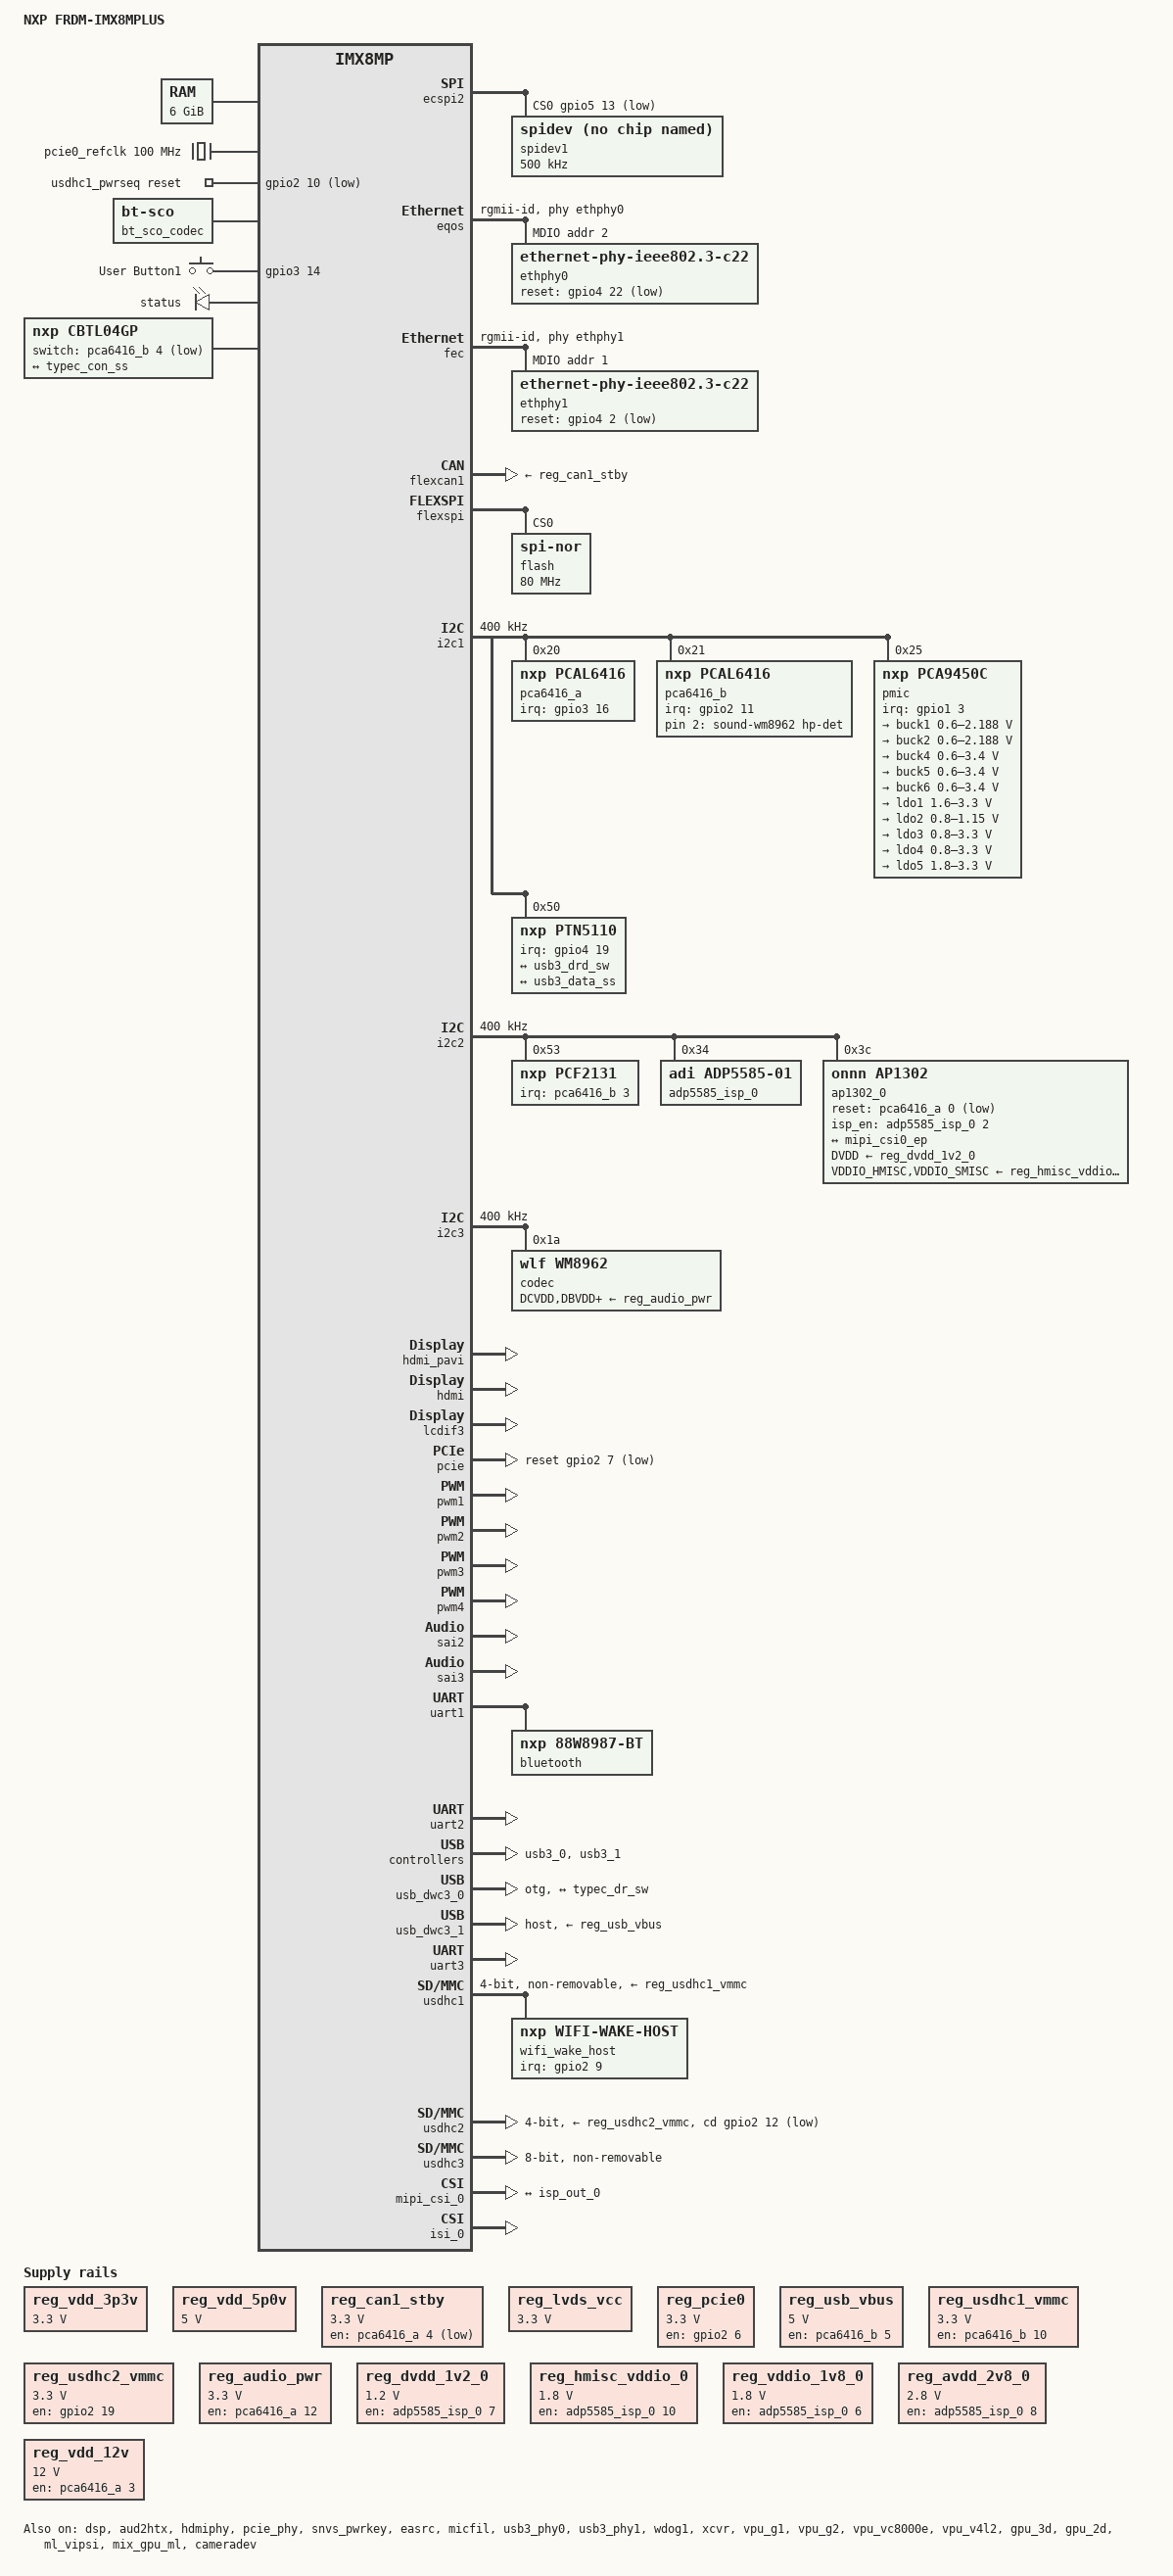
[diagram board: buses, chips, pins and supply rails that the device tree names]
// SPDX-License-Identifier: (GPL-2.0+ OR MIT)
/*
 * Copyright 2025 NXP
 */

/dts-v1/;

#include <dt-bindings/phy/phy-imx8-pcie.h>
#include <dt-bindings/usb/pd.h>
#include "imx8mp.dtsi"

/ {
	model = "NXP FRDM-IMX8MPLUS";
	compatible = "fsl,imx8mp-frdm", "fsl,imx8mp";

	chosen {
		stdout-path = &uart2;
	};

	memory@40000000 {
		device_type = "memory";
		reg = <0x0 0x40000000 0 0xc0000000>,
			  <0x1 0x00000000 0 0xc0000000>;
	};

	pcie0_refclk: pcie0-refclk {
		compatible = "fixed-clock";
		#clock-cells = <0>;
		clock-frequency = <100000000>;
	};

	reg_vdd_3p3v: regulator-vdd-3p3v {
		compatible = "regulator-fixed";
		regulator-name = "VDD_3P3V";
		regulator-min-microvolt = <3300000>;
		regulator-max-microvolt = <3300000>;
		regulator-always-on;
	};

	reg_vdd_5p0v: regulator-vdd-5p0v {
		compatible = "regulator-fixed";
		regulator-name = "VDD_5P0V";
		regulator-min-microvolt = <5000000>;
		regulator-max-microvolt = <5000000>;
		regulator-always-on;
	};

	reg_can1_stby: regulator-can1-stby {
		compatible = "regulator-fixed";
		regulator-name = "can1-stby";
		pinctrl-names = "default";
		regulator-min-microvolt = <3300000>;
		regulator-max-microvolt = <3300000>;
		gpio = <&pca6416_a 4 GPIO_ACTIVE_LOW>;
		enable-active-low;
	};

	reg_lvds_vcc: regulator-lvds-vcc {
		compatible = "regulator-fixed";
		regulator-name = "lvds-vcc";
		regulator-min-microvolt = <3300000>;
		regulator-max-microvolt = <3300000>;
		regulator-always-on;
	};

	reg_pcie0: regulator-pcie {
		compatible = "regulator-fixed";
		pinctrl-names = "default";
		pinctrl-0 = <&pinctrl_pcie0_reg>;
		regulator-name = "MPCIE_3V3";
		regulator-min-microvolt = <3300000>;
		regulator-max-microvolt = <3300000>;
		gpio = <&gpio2 6 GPIO_ACTIVE_HIGH>;
		enable-active-high;
		regulator-always-on;
	};

	reg_usb_vbus: regulator-vbus {
		compatible = "regulator-fixed";
		pinctrl-names = "default";
		regulator-name = "USB_VBUS";
		regulator-min-microvolt = <5000000>;
		regulator-max-microvolt = <5000000>;
		gpio = <&pca6416_b 5 GPIO_ACTIVE_HIGH>;
		enable-active-high;
		regulator-always-on;
	};

	usdhc1_pwrseq: usdhc1_pwrseq {
		compatible = "mmc-pwrseq-simple";
		reset-gpios = <&gpio2 10 GPIO_ACTIVE_LOW>;
	};

	reg_usdhc1_vmmc: regulator-usdhc1 {
		compatible = "regulator-fixed";
		regulator-name = "WLAN_EN";
		regulator-min-microvolt = <3300000>;
		regulator-max-microvolt = <3300000>;
		gpio = <&pca6416_b 10 GPIO_ACTIVE_HIGH>;
		/*
		 * IW612 wifi chip needs more delay than other wifi chips to complete
		 * the host interface initialization after power up, otherwise the
		 * internal state of IW612 may be unstable, resulting in the failure of
		 * the SDIO3.0 switch voltage.
		 */
		startup-delay-us = <20000>;
		enable-active-high;
	};

	reg_usdhc2_vmmc: regulator-usdhc2 {
		compatible = "regulator-fixed";
		pinctrl-names = "default";
		pinctrl-0 = <&pinctrl_reg_usdhc2_vmmc>;
		regulator-name = "VSD_3V3";
		regulator-min-microvolt = <3300000>;
		regulator-max-microvolt = <3300000>;
		gpio = <&gpio2 19 GPIO_ACTIVE_HIGH>;
		enable-active-high;
	};

	reg_audio_pwr: regulator-audio-pwr {
		compatible = "regulator-fixed";
		regulator-name = "audio-pwr";
		regulator-min-microvolt = <3300000>;
		regulator-max-microvolt = <3300000>;
		gpio = <&pca6416_a 12 GPIO_ACTIVE_HIGH>;
		enable-active-high;
		regulator-always-on;
	};

	reg_dvdd_1v2_0: regulator-dvdd_0 {
		compatible = "regulator-fixed";
		regulator-name = "DVDD_1V2";
		gpio = <&adp5585_isp_0 7 GPIO_ACTIVE_HIGH>;
		regulator-min-microvolt = <1200000>;
		regulator-max-microvolt = <1200000>;
		enable-active-high;
	};

	reg_hmisc_vddio_0: regulator-hmisc-vddio_0 {
		compatible = "regulator-fixed";
		regulator-name = "HMISC_VDDIO_1V8";
		gpio = <&adp5585_isp_0 10 GPIO_ACTIVE_HIGH>;
		regulator-min-microvolt = <1800000>;
		regulator-max-microvolt = <1800000>;
		enable-active-high;
	};

	reg_vddio_1v8_0: regulator-vddo_0 {
		compatible = "regulator-fixed";
		regulator-name = "VDDIO_1V8";
		gpio = <&adp5585_isp_0 6 GPIO_ACTIVE_HIGH>;
		regulator-min-microvolt = <1800000>;
		regulator-max-microvolt = <1800000>;
		startup-delay-us = <4000>;
		enable-active-high;
	};

	reg_avdd_2v8_0: regulator-avdd_0 {
		compatible = "regulator-fixed";
		regulator-name = "AVDD_2V8";
		gpio = <&adp5585_isp_0 8 GPIO_ACTIVE_HIGH>;
		regulator-min-microvolt = <2800000>;
		regulator-max-microvolt = <2800000>;
		enable-active-high;
	};

	reg_vdd_12v: regulator-vdd-12v {
		compatible = "regulator-fixed";
		regulator-name = "reg_vdd_12v";
		regulator-min-microvolt = <12000000>;
		regulator-max-microvolt = <12000000>;
		gpio = <&pca6416_a 3 GPIO_ACTIVE_HIGH>;
		enable-active-high;
	};

	bt_sco_codec: bt_sco_codec {
		#sound-dai-cells = <1>;
		compatible = "linux,bt-sco";
	};

	sw-keys {
		compatible = "gpio-keys";

		K1: user_btn1 {
			label = "User Button1";
			linux,code = <BTN_1>;
			gpios = <&gpio3 14 GPIO_PULL_UP>;
			interrupt-parent = <&gpio3>;
			interrupts = <14 IRQ_TYPE_EDGE_FALLING>;
		};
	};

	gpio-leds {
		compatible = "gpio-leds";
		pinctrl-names = "default";
		status {
			label = "status";
			gpio = <&pca6416_a 14 GPIO_ACTIVE_HIGH>;
			default-state = "on"; /* LED GREEN */
		};
	};

	sound-bt-sco {
		compatible = "simple-audio-card";
		simple-audio-card,name = "bt-sco-audio";
		simple-audio-card,format = "dsp_a";
		simple-audio-card,bitclock-inversion;
		simple-audio-card,frame-master = <&btcpu>;
		simple-audio-card,bitclock-master = <&btcpu>;

		btcpu: simple-audio-card,cpu {
			sound-dai = <&sai2>;
			dai-tdm-slot-num = <2>;
			dai-tdm-slot-width = <16>;
		};

		simple-audio-card,codec {
			sound-dai = <&bt_sco_codec 1>;
		};
	};

	sound-hdmi {
		compatible = "fsl,imx-audio-hdmi";
		model = "audio-hdmi";
		audio-cpu = <&aud2htx>;
		hdmi-out;
		constraint-rate = <44100>,
				<88200>,
				<176400>,
				<32000>,
				<48000>,
				<96000>,
				<192000>;
		status = "okay";
	};

	sound-wm8962 {
		compatible = "fsl,imx-audio-wm8962";
		model = "wm8962-audio";
		audio-cpu = <&sai3>;
		audio-codec = <&codec>;
		audio-asrc = <&easrc>;
		hp-det-gpio = <&pca6416_b 2 GPIO_ACTIVE_HIGH>;
		audio-routing =
			"Headphone Jack", "HPOUTL",
			"Headphone Jack", "HPOUTR",
			"Ext Spk", "SPKOUTL",
			"Ext Spk", "SPKOUTR",
			"AMIC", "MICBIAS",
			"IN3R", "AMIC",
			"IN1R", "AMIC";
	};

	sound-micfil {
		compatible = "fsl,imx-audio-card";
		model = "micfil-audio";
		pri-dai-link {
			link-name = "micfil hifi";
			format = "i2s";
			cpu {
				sound-dai = <&micfil>;
			};
		};
	};

	sound-xcvr {
		compatible = "fsl,imx-audio-card";
		model = "imx-audio-xcvr";
		pri-dai-link {
			link-name = "XCVR PCM";
			cpu {
				sound-dai = <&xcvr>;
			};
		};
	};

	cbtl04gp {
		compatible = "nxp,cbtl04gp";
		pinctrl-names = "default";
		switch-gpios = <&pca6416_b 4 GPIO_ACTIVE_LOW>;
		orientation-switch;

		port {
			usb3_data_ss: endpoint {
				remote-endpoint = <&typec_con_ss>;
			};
		};
	};
};

&A53_0 {
	cpu-supply = <&buck2>;
};

&A53_1 {
	cpu-supply = <&buck2>;
};

&A53_2 {
	cpu-supply = <&buck2>;
};

&A53_3 {
	cpu-supply = <&buck2>;
};

&dsp {
	status = "okay";
};

&aud2htx {
	status = "okay";
};

&ecspi2 {
	fsl,spi-num-chipselects = <1>;
	pinctrl-names = "default";
	pinctrl-0 = <&pinctrl_ecspi2 &pinctrl_ecspi2_cs>;
	cs-gpios = <&gpio5 13 GPIO_ACTIVE_LOW>;
	status = "okay";

	spidev1: spi@0 {
		reg = <0>;
		compatible = "rohm,dh2228fv";
		spi-max-frequency = <500000>;
	};
};

&eqos {
	pinctrl-names = "default";
	pinctrl-0 = <&pinctrl_eqos>;
	phy-mode = "rgmii-id";
	phy-handle = <&ethphy0>;
	snps,force_thresh_dma_mode;
	snps,mtl-tx-config = <&mtl_tx_setup>;
	snps,mtl-rx-config = <&mtl_rx_setup>;
	status = "okay";

	mdio {
		compatible = "snps,dwmac-mdio";
		#address-cells = <1>;
		#size-cells = <0>;

		ethphy0: ethernet-phy@2 {
			compatible = "ethernet-phy-ieee802.3-c22";
			reg = <2>;
			reset-gpios = <&gpio4 22 GPIO_ACTIVE_LOW>;
			reset-assert-us = <10000>;
			reset-deassert-us = <80000>;
			realtek,clkout-disable;
		};
	};

	mtl_tx_setup: tx-queues-config {
		snps,tx-queues-to-use = <5>;
		snps,tx-sched-sp;

		queue0 {
			snps,dcb-algorithm;
			snps,priority = <0x1>;
		};

		queue1 {
			snps,dcb-algorithm;
			snps,priority = <0x2>;
		};

		queue2 {
			snps,dcb-algorithm;
			snps,priority = <0x4>;
		};

		queue3 {
			snps,dcb-algorithm;
			snps,priority = <0x8>;
		};

		queue4 {
			snps,dcb-algorithm;
			snps,priority = <0xf0>;
		};
	};

	mtl_rx_setup: rx-queues-config {
		snps,rx-queues-to-use = <5>;
		snps,rx-sched-sp;

		queue0 {
			snps,dcb-algorithm;
			snps,priority = <0x1>;
			snps,map-to-dma-channel = <0>;
		};

		queue1 {
			snps,dcb-algorithm;
			snps,priority = <0x2>;
			snps,map-to-dma-channel = <1>;
		};

		queue2 {
			snps,dcb-algorithm;
			snps,priority = <0x4>;
			snps,map-to-dma-channel = <2>;
		};

		queue3 {
			snps,dcb-algorithm;
			snps,priority = <0x8>;
			snps,map-to-dma-channel = <3>;
		};

		queue4 {
			snps,dcb-algorithm;
			snps,priority = <0xf0>;
			snps,map-to-dma-channel = <4>;
		};
	};
};

&fec {
	pinctrl-names = "default";
	pinctrl-0 = <&pinctrl_fec>;
	phy-mode = "rgmii-id";
	phy-handle = <&ethphy1>;
	fsl,magic-packet;
	status = "okay";

	mdio {
		#address-cells = <1>;
		#size-cells = <0>;

		ethphy1: ethernet-phy@1 {
			compatible = "ethernet-phy-ieee802.3-c22";
			reg = <1>;
			eee-broken-1000t;
			reset-gpios = <&gpio4 2 GPIO_ACTIVE_LOW>;
			reset-assert-us = <10000>;
			reset-deassert-us = <80000>;
			realtek,aldps-enable;
			realtek,clkout-disable;
		};
	};
};

&flexcan1 {
	pinctrl-names = "default";
	pinctrl-0 = <&pinctrl_flexcan1>;
	xceiver-supply = <&reg_can1_stby>;
	status = "okay";
};

&flexspi {
	pinctrl-names = "default";
	pinctrl-0 = <&pinctrl_flexspi0>;
	status = "okay";

	flash@0 {
		compatible = "jedec,spi-nor";
		reg = <0>;
		spi-max-frequency = <80000000>;
		spi-tx-bus-width = <1>;
		spi-rx-bus-width = <4>;
	};
};

&i2c1 {
	clock-frequency = <400000>;
	pinctrl-names = "default";
	pinctrl-0 = <&pinctrl_i2c1>;
	status = "okay";

	pca6416_a: gpio@20 {
		compatible = "nxp,pcal6416";
		reg = <0x20>;
		gpio-controller;
		#gpio-cells = <2>;
		interrupt-controller;
		#interrupt-cells = <2>;
		pinctrl-names = "default";
		pinctrl-0 = <&pinctrl_pca6416_int_a>;
		interrupt-parent = <&gpio3>;
		interrupts = <16 IRQ_TYPE_LEVEL_LOW>;
	};

	pca6416_b: gpio@21 {
		compatible = "nxp,pcal6416";
		reg = <0x21>;
		gpio-controller;
		#gpio-cells = <2>;
		interrupt-controller;
		#interrupt-cells = <2>;
		pinctrl-names = "default";
		pinctrl-0 = <&pinctrl_pca6416_int_b>;
		interrupt-parent = <&gpio2>;
		interrupts = <11 IRQ_TYPE_LEVEL_LOW>;
	};

	pmic@25 {
		compatible = "nxp,pca9450c";
		reg = <0x25>;
		pinctrl-names = "default";
		pinctrl-0 = <&pinctrl_pmic>;
		interrupt-parent = <&gpio1>;
		interrupts = <3 IRQ_TYPE_LEVEL_LOW>;
		nxp,i2c-lt-enable;

		regulators {
			buck1: BUCK1 {
				regulator-name = "BUCK1";
				regulator-min-microvolt = <600000>;
				regulator-max-microvolt = <2187500>;
				regulator-boot-on;
				regulator-always-on;
				regulator-ramp-delay = <3125>;
			};

			buck2: BUCK2 {
				regulator-name = "BUCK2";
				regulator-min-microvolt = <600000>;
				regulator-max-microvolt = <2187500>;
				regulator-boot-on;
				regulator-always-on;
				regulator-ramp-delay = <3125>;
				nxp,dvs-run-voltage = <950000>;
				nxp,dvs-standby-voltage = <850000>;
			};

			buck4: BUCK4{
				regulator-name = "BUCK4";
				regulator-min-microvolt = <600000>;
				regulator-max-microvolt = <3400000>;
				regulator-boot-on;
				regulator-always-on;
			};

			buck5: BUCK5{
				regulator-name = "BUCK5";
				regulator-min-microvolt = <600000>;
				regulator-max-microvolt = <3400000>;
				regulator-boot-on;
				regulator-always-on;
			};

			buck6: BUCK6 {
				regulator-name = "BUCK6";
				regulator-min-microvolt = <600000>;
				regulator-max-microvolt = <3400000>;
				regulator-boot-on;
				regulator-always-on;
			};

			ldo1: LDO1 {
				regulator-name = "LDO1";
				regulator-min-microvolt = <1600000>;
				regulator-max-microvolt = <3300000>;
				regulator-boot-on;
				regulator-always-on;
			};

			ldo2: LDO2 {
				regulator-name = "LDO2";
				regulator-min-microvolt = <800000>;
				regulator-max-microvolt = <1150000>;
				regulator-boot-on;
				regulator-always-on;
			};

			ldo3: LDO3 {
				regulator-name = "LDO3";
				regulator-min-microvolt = <800000>;
				regulator-max-microvolt = <3300000>;
				regulator-boot-on;
				regulator-always-on;
			};

			ldo4: LDO4 {
				regulator-name = "LDO4";
				regulator-min-microvolt = <800000>;
				regulator-max-microvolt = <3300000>;
				regulator-boot-on;
				regulator-always-on;
			};

			ldo5: LDO5 {
				regulator-name = "LDO5";
				regulator-min-microvolt = <1800000>;
				regulator-max-microvolt = <3300000>;
				regulator-boot-on;
				regulator-always-on;
			};
		};
	};

	ptn5110: tcpc@50 {
		compatible = "nxp,ptn5110";
		pinctrl-names = "default";
		reg = <0x50>;
		pinctrl-0 = <&pinctrl_typec>;
		interrupt-parent = <&gpio4>;
		interrupts = <19 8>;

		port {
			typec_dr_sw: endpoint {
				remote-endpoint = <&usb3_drd_sw>;
			};
		};

		usb_con: connector {
			compatible = "usb-c-connector";
			label = "USB-C";
			power-role = "dual";
			data-role = "dual";
			try-power-role = "sink";
			source-pdos = <PDO_FIXED(5000, 3000, PDO_FIXED_USB_COMM)>;
			sink-pdos = <PDO_FIXED(5000, 3000, PDO_FIXED_USB_COMM)
					 PDO_VAR(5000, 20000, 3000)>;
			op-sink-microwatt = <15000000>;
			self-powered;

			ports {
				#address-cells = <1>;
				#size-cells = <0>;

				port@1 {
					reg = <1>;
					typec_con_ss: endpoint {
						remote-endpoint = <&usb3_data_ss>;
					};
				};
			};
		};
	};
};

&i2c2 {
	clock-frequency = <400000>;
	pinctrl-names = "default";
	pinctrl-0 = <&pinctrl_i2c2>;
	status = "okay";

	pcf2131: rtc@53 {
			compatible = "nxp,pcf2131";
			reg = <0x53>;
			interrupt-parent = <&pca6416_b>;
			interrupts = <3 IRQ_TYPE_EDGE_FALLING>;
			status = "okay";
	};

	adp5585_isp_0: io-expander-isp@34 {
		compatible = "adi,adp5585-01", "adi,adp5585";
		reg = <0x34>;
		gpio-controller;
		#gpio-cells = <2>;
		#pwm-cells = <3>;
	};

	ap1302_0: ap1302_mipi_0@3c {
		compatible = "onnn,ap1302";
		reg = <0x3c>;
		clocks = <&clk IMX8MP_CLK_24M>;
		reset-gpios   = <&pca6416_a 0 GPIO_ACTIVE_LOW>;
		isp_en-gpios  = <&adp5585_isp_0 2 GPIO_ACTIVE_HIGH>;
		orientation = <2>;
		rotation = <0>;
		DVDD-supply   = <&reg_dvdd_1v2_0>;
		VDDIO_HMISC-supply  = <&reg_hmisc_vddio_0>;
		VDDIO_SMISC-supply   = <&reg_hmisc_vddio_0>;
		status = "okay";

		ports {
			#address-cells = <1>;
			#size-cells = <0>;

			port@0 {
				reg = <0>;
			};

			port@1 {
				reg = <1>;
			};

			port@2 {
				reg = <2>;
				isp_out_0: endpoint {
					remote-endpoint = <&mipi_csi0_ep>;
					data-lanes = <1 2 3 4>;
					clock-lanes = <0>;
				};
			};
		};

		sensors {
			#address-cells = <1>;
			#size-cells = <0>;

			onnn,model = "onnn,ar0144";

			sensor@0 {
				reg = <0>;

				vdd-supply = <&reg_dvdd_1v2_0>;
				vddio-supply = <&reg_vddio_1v8_0>;
				vaa-supply = <&reg_avdd_2v8_0>;
			};
		};
	};
};

&i2c3 {
	clock-frequency = <400000>;
	pinctrl-names = "default";
	pinctrl-0 = <&pinctrl_i2c3>;
	status = "okay";

	codec: wm8962@1a {
		compatible = "wlf,wm8962";
		reg = <0x1a>;
		clocks = <&audio_blk_ctrl IMX8MP_CLK_AUDIOMIX_SAI3_MCLK1>;
		DCVDD-supply = <&reg_audio_pwr>;
		DBVDD-supply = <&reg_audio_pwr>;
		AVDD-supply = <&reg_audio_pwr>;
		CPVDD-supply = <&reg_audio_pwr>;
		MICVDD-supply = <&reg_audio_pwr>;
		PLLVDD-supply = <&reg_audio_pwr>;
		SPKVDD1-supply = <&reg_audio_pwr>;
		SPKVDD2-supply = <&reg_audio_pwr>;
		gpio-cfg = <
			0x0000 /* 0:Default */
			0x0000 /* 1:Default */
			0x0000 /* 2:FN_DMICCLK */
			0x0000 /* 3:Default */
			0x0000 /* 4:FN_DMICCDAT */
			0x0000 /* 5:Default */
		>;
	};
};

&hdmi_pavi {
	status = "okay";
};

&hdmi {
	status = "okay";
};

&hdmiphy {
	status = "okay";
};

&lcdif3 {
	status = "okay";

	thres-low  = <1 2>;			 /* (FIFO * 1 / 2) */
	thres-high = <3 4>;			 /* (FIFO * 3 / 4) */
};

&pcie_phy {
	fsl,refclk-pad-mode = <IMX8_PCIE_REFCLK_PAD_INPUT>;
	clocks = <&pcie0_refclk>;
	clock-names = "ref";
	status = "okay";
};

&pcie {
	pinctrl-names = "default";
	pinctrl-0 = <&pinctrl_pcie0>;
	reset-gpio = <&gpio2 7 GPIO_ACTIVE_LOW>;
	host-wake-gpio = <&gpio5 21 GPIO_ACTIVE_LOW>;
	vpcie-supply = <&reg_pcie0>;
	status = "okay";
};

&pwm1 {
	pinctrl-names = "default";
	pinctrl-0 = <&pinctrl_pwm1>;
	status = "okay";
};

&pwm2 {
	pinctrl-names = "default";
	pinctrl-0 = <&pinctrl_pwm2>;
	status = "okay";
};

&pwm3 {
	pinctrl-names = "default";
	pinctrl-0 = <&pinctrl_pwm3>;
	status = "okay";
};

&pwm4 {
	pinctrl-names = "default";
	pinctrl-0 = <&pinctrl_pwm4>;
	status = "okay";
};

&sai2 {
	#sound-dai-cells = <0>;
	pinctrl-names = "default";
	pinctrl-0 = <&pinctrl_sai2>;
	assigned-clocks = <&clk IMX8MP_CLK_SAI2>;
	assigned-clock-parents = <&clk IMX8MP_AUDIO_PLL1_OUT>;
	assigned-clock-rates = <12288000>;
	fsl,sai-mclk-direction-output;
	status = "okay";
};

&snvs_pwrkey {
	status = "okay";
};

&easrc {
	fsl,asrc-rate  = <48000>;
	status = "okay";
};

&micfil {
	#sound-dai-cells = <0>;
	pinctrl-names = "default";
	pinctrl-0 = <&pinctrl_pdm>;
	assigned-clocks = <&clk IMX8MP_CLK_PDM>;
	assigned-clock-parents = <&clk IMX8MP_AUDIO_PLL1_OUT>;
	assigned-clock-rates = <196608000>;
	status = "okay";
};

&sai3 {
	pinctrl-names = "default";
	pinctrl-0 = <&pinctrl_sai3>;
	assigned-clocks = <&clk IMX8MP_CLK_SAI3>;
	assigned-clock-parents = <&clk IMX8MP_AUDIO_PLL1_OUT>;
	assigned-clock-rates = <12288000>;
	clocks = <&audio_blk_ctrl IMX8MP_CLK_AUDIOMIX_SAI3_IPG>, <&clk IMX8MP_CLK_DUMMY>,
		 <&audio_blk_ctrl IMX8MP_CLK_AUDIOMIX_SAI3_MCLK1>, <&clk IMX8MP_CLK_DUMMY>,
		 <&clk IMX8MP_CLK_DUMMY>;
	clock-names = "bus", "mclk0", "mclk1", "mclk2", "mclk3";
	fsl,sai-mclk-direction-output;
	status = "okay";
};

&sdma2 {
	status = "okay";
};

&uart1 {
	/* BT */
	pinctrl-names = "default";
	pinctrl-0 = <&pinctrl_uart1>;
	assigned-clocks = <&clk IMX8MP_CLK_UART1>;
	assigned-clock-parents = <&clk IMX8MP_SYS_PLL1_80M>;
	uart-has-rtscts;
	status = "okay";

	bluetooth {
		compatible = "nxp,88w8987-bt";
	};
};

&uart2 {
	/* console */
	pinctrl-names = "default";
	pinctrl-0 = <&pinctrl_uart2>;
	status = "okay";
};

&usb3_phy0 {
	fsl,phy-tx-vref-tune-percent = <122>;
	fsl,phy-tx-preemp-amp-tune-microamp = <1800>;
	fsl,phy-tx-vboost-level-microvolt = <1156>;
	fsl,phy-comp-dis-tune-percent = <115>;
	fsl,phy-pcs-tx-deemph-3p5db-attenuation-db = <33>;
	fsl,phy-pcs-tx-swing-full-percent = <100>;
	status = "okay";
};

&usb3_0 {
	status = "okay";
};

&usb_dwc3_0 {
	dr_mode = "otg";
	hnp-disable;
	srp-disable;
	adp-disable;
	usb-role-switch;
	role-switch-default-mode = "none";
	snps,dis-u1-entry-quirk;
	snps,dis-u2-entry-quirk;
	status = "okay";

	port {
		usb3_drd_sw: endpoint {
			remote-endpoint = <&typec_dr_sw>;
		};
	};
};

&usb3_phy1 {
	fsl,phy-tx-preemp-amp-tune-microamp = <1800>;
	fsl,phy-tx-vref-tune-percent = <116>;
	status = "okay";
};

&usb3_1 {
	status = "okay";
};

&usb_dwc3_1 {
	vbus-supply = <&reg_usb_vbus>;
	dr_mode = "host";
	status = "okay";
};

&uart3 {
	pinctrl-names = "default";
	pinctrl-0 = <&pinctrl_uart3>;
	assigned-clocks = <&clk IMX8MP_CLK_UART3>;
	assigned-clock-parents = <&clk IMX8MP_SYS_PLL1_80M>;
	uart-has-rtscts;
	status = "okay";
};

&usdhc1 {
	pinctrl-names = "default", "state_100mhz", "state_200mhz";
	pinctrl-0 = <&pinctrl_usdhc1>;
	pinctrl-1 = <&pinctrl_usdhc1_100mhz>;
	pinctrl-2 = <&pinctrl_usdhc1_200mhz>;
	mmc-pwrseq = <&usdhc1_pwrseq>;
	vmmc-supply = <&reg_usdhc1_vmmc>;
	bus-width = <4>;
	keep-power-in-suspend;
	non-removable;
	wakeup-source;
	status = "okay";

	wifi_wake_host {
		compatible = "nxp,wifi-wake-host";
		interrupt-parent = <&gpio2>;
		interrupts = <9 IRQ_TYPE_LEVEL_LOW>;
		interrupt-names = "host-wake";
	};
};

&usdhc2 {
	assigned-clocks = <&clk IMX8MP_CLK_USDHC2>;
	assigned-clock-rates = <400000000>;
	pinctrl-names = "default", "state_100mhz", "state_200mhz";
	pinctrl-0 = <&pinctrl_usdhc2>, <&pinctrl_usdhc2_gpio>;
	pinctrl-1 = <&pinctrl_usdhc2_100mhz>, <&pinctrl_usdhc2_gpio>;
	pinctrl-2 = <&pinctrl_usdhc2_200mhz>, <&pinctrl_usdhc2_gpio>;
	cd-gpios = <&gpio2 12 GPIO_ACTIVE_LOW>;
	vmmc-supply = <&reg_usdhc2_vmmc>;
	bus-width = <4>;
	status = "okay";
};

&usdhc3 {
	assigned-clocks = <&clk IMX8MP_CLK_USDHC3>;
	assigned-clock-rates = <400000000>;
	pinctrl-names = "default", "state_100mhz", "state_200mhz";
	pinctrl-0 = <&pinctrl_usdhc3>;
	pinctrl-1 = <&pinctrl_usdhc3_100mhz>;
	pinctrl-2 = <&pinctrl_usdhc3_200mhz>;
	bus-width = <8>;
	non-removable;
	status = "okay";
};

&wdog1 {
	pinctrl-names = "default";
	pinctrl-0 = <&pinctrl_wdog>;
	fsl,ext-reset-output;
	status = "okay";
};

&xcvr {
	#sound-dai-cells = <0>;
	status = "okay";
};

&iomuxc {
	pinctrl-names = "default";
	pinctrl-0 = <&pinctrl_hog>;

	pinctrl_ecspi2: ecspi2grp {
		fsl,pins = <
			MX8MP_IOMUXC_ECSPI2_SCLK__ECSPI2_SCLK		0x82
			MX8MP_IOMUXC_ECSPI2_MOSI__ECSPI2_MOSI		0x82
			MX8MP_IOMUXC_ECSPI2_MISO__ECSPI2_MISO		0x82
		>;
	};

	pinctrl_ecspi2_cs: ecspi2cs {
		fsl,pins = <
			MX8MP_IOMUXC_ECSPI2_SS0__GPIO5_IO13		0x40000
		>;
	};

	pinctrl_eqos: eqosgrp {
		fsl,pins = <
			MX8MP_IOMUXC_ENET_MDC__ENET_QOS_MDC				0x2
			MX8MP_IOMUXC_ENET_MDIO__ENET_QOS_MDIO				0x2
			MX8MP_IOMUXC_ENET_RD0__ENET_QOS_RGMII_RD0			0x90
			MX8MP_IOMUXC_ENET_RD1__ENET_QOS_RGMII_RD1			0x90
			MX8MP_IOMUXC_ENET_RD2__ENET_QOS_RGMII_RD2			0x90
			MX8MP_IOMUXC_ENET_RD3__ENET_QOS_RGMII_RD3			0x90
			MX8MP_IOMUXC_ENET_RXC__CCM_ENET_QOS_CLOCK_GENERATE_RX_CLK	0x90
			MX8MP_IOMUXC_ENET_RX_CTL__ENET_QOS_RGMII_RX_CTL			0x90
			MX8MP_IOMUXC_ENET_TD0__ENET_QOS_RGMII_TD0			0x16
			MX8MP_IOMUXC_ENET_TD1__ENET_QOS_RGMII_TD1			0x16
			MX8MP_IOMUXC_ENET_TD2__ENET_QOS_RGMII_TD2			0x16
			MX8MP_IOMUXC_ENET_TD3__ENET_QOS_RGMII_TD3			0x16
			MX8MP_IOMUXC_ENET_TX_CTL__ENET_QOS_RGMII_TX_CTL			0x16
			MX8MP_IOMUXC_ENET_TXC__CCM_ENET_QOS_CLOCK_GENERATE_TX_CLK	0x16
			MX8MP_IOMUXC_SAI2_RXC__GPIO4_IO22				0x10
		>;
	};

	pinctrl_fec: fecgrp {
		fsl,pins = <
			MX8MP_IOMUXC_SAI1_RXD2__ENET1_MDC		0x2
			MX8MP_IOMUXC_SAI1_RXD3__ENET1_MDIO		0x2
			MX8MP_IOMUXC_SAI1_RXD4__ENET1_RGMII_RD0		0x90
			MX8MP_IOMUXC_SAI1_RXD5__ENET1_RGMII_RD1		0x90
			MX8MP_IOMUXC_SAI1_RXD6__ENET1_RGMII_RD2		0x90
			MX8MP_IOMUXC_SAI1_RXD7__ENET1_RGMII_RD3		0x90
			MX8MP_IOMUXC_SAI1_TXC__ENET1_RGMII_RXC		0x90
			MX8MP_IOMUXC_SAI1_TXFS__ENET1_RGMII_RX_CTL	0x90
			MX8MP_IOMUXC_SAI1_TXD0__ENET1_RGMII_TD0		0x16
			MX8MP_IOMUXC_SAI1_TXD1__ENET1_RGMII_TD1		0x16
			MX8MP_IOMUXC_SAI1_TXD2__ENET1_RGMII_TD2		0x16
			MX8MP_IOMUXC_SAI1_TXD3__ENET1_RGMII_TD3		0x16
			MX8MP_IOMUXC_SAI1_TXD4__ENET1_RGMII_TX_CTL	0x16
			MX8MP_IOMUXC_SAI1_TXD5__ENET1_RGMII_TXC		0x16
			MX8MP_IOMUXC_SAI1_RXD0__GPIO4_IO02		0x10
		>;
	};

	pinctrl_flexcan1: flexcan1grp {
		fsl,pins = <
			MX8MP_IOMUXC_SPDIF_RX__CAN1_RX		  0x154
			MX8MP_IOMUXC_SPDIF_TX__CAN1_TX		  0x154
		>;
	};

	pinctrl_flexspi0: flexspi0grp {
		fsl,pins = <
			MX8MP_IOMUXC_NAND_ALE__FLEXSPI_A_SCLK		   0x1c2
			MX8MP_IOMUXC_NAND_CE0_B__FLEXSPI_A_SS0_B		0x82
			MX8MP_IOMUXC_NAND_DATA00__FLEXSPI_A_DATA00	  0x82
			MX8MP_IOMUXC_NAND_DATA01__FLEXSPI_A_DATA01	  0x82
			MX8MP_IOMUXC_NAND_DATA02__FLEXSPI_A_DATA02	  0x82
			MX8MP_IOMUXC_NAND_DATA03__FLEXSPI_A_DATA03	  0x82
		>;
	};

	pinctrl_hog: hoggrp {
		fsl,pins = <
			MX8MP_IOMUXC_HDMI_DDC_SCL__HDMIMIX_HDMI_SCL	0x400001c2
			MX8MP_IOMUXC_HDMI_DDC_SDA__HDMIMIX_HDMI_SDA	0x400001c2
			MX8MP_IOMUXC_HDMI_HPD__HDMIMIX_HDMI_HPD		0x40000010
			MX8MP_IOMUXC_HDMI_CEC__HDMIMIX_HDMI_CEC		0x40000010

			/*
			 * M.2 pin20 & pin21 need to be set to 11 for 88W9098 to select the
			 * default Reference Clock Frequency
			 */
			MX8MP_IOMUXC_SD1_DATA7__GPIO2_IO09		0x1c4
		>;
	};

	pinctrl_hpdet: hpdetgrp {
		fsl,pins = <
			MX8MP_IOMUXC_SAI3_RXFS__GPIO4_IO28		0xd6
		>;
	};

	pinctrl_i2c1: i2c1grp {
		fsl,pins = <
			MX8MP_IOMUXC_I2C1_SCL__I2C1_SCL		0x400001c2
			MX8MP_IOMUXC_I2C1_SDA__I2C1_SDA		0x400001c2
		>;
	};

	pinctrl_i2c2: i2c2grp {
		fsl,pins = <
			MX8MP_IOMUXC_I2C2_SCL__I2C2_SCL		0x400001c2
			MX8MP_IOMUXC_I2C2_SDA__I2C2_SDA		0x400001c2
		>;
	};

	pinctrl_i2c3: i2c3grp {
		fsl,pins = <
			MX8MP_IOMUXC_I2C3_SCL__I2C3_SCL		0x400001c2
			MX8MP_IOMUXC_I2C3_SDA__I2C3_SDA		0x400001c2
		>;
	};

	pinctrl_pcie0: pcie0grp {
		fsl,pins = <
			MX8MP_IOMUXC_I2C4_SCL__PCIE_CLKREQ_B	0x60 /* open drain, pull up */
			MX8MP_IOMUXC_SD1_DATA5__GPIO2_IO07	0x40
			MX8MP_IOMUXC_I2C4_SDA__GPIO5_IO21	0x1c4
		>;
	};

	pinctrl_pcie0_reg: pcie0reggrp {
		fsl,pins = <
			MX8MP_IOMUXC_SD1_DATA4__GPIO2_IO06	0x40
		>;
	};

	pinctrl_pmic: pmicgrp {
		fsl,pins = <
			MX8MP_IOMUXC_GPIO1_IO03__GPIO1_IO03	0x000001c0
		>;
	};

	pinctrl_pca6416_int_a: pca6416_int_grp_a {
		fsl,pins = <
			MX8MP_IOMUXC_NAND_READY_B__GPIO3_IO16	0x146 /* Input pull-up. */
		>;
	};

	pinctrl_pca6416_int_b: pca6416_int_grp_b {
		fsl,pins = <
			MX8MP_IOMUXC_SD1_STROBE__GPIO2_IO11	0x146 /* Input pull-up. */
		>;
	};

	pinctrl_pdm: pdmgrp {
		fsl,pins = <
			MX8MP_IOMUXC_SAI5_RXC__AUDIOMIX_PDM_CLK		0xd6
			MX8MP_IOMUXC_SAI5_RXD0__AUDIOMIX_PDM_BIT_STREAM00	0xd6
			MX8MP_IOMUXC_SAI5_RXD1__AUDIOMIX_PDM_BIT_STREAM01	0xd6
			MX8MP_IOMUXC_SAI5_RXD2__AUDIOMIX_PDM_BIT_STREAM02	0xd6
			MX8MP_IOMUXC_SAI5_RXD3__AUDIOMIX_PDM_BIT_STREAM03	0xd6
		>;
	};

	pinctrl_pwm1: pwm1grp {
		fsl,pins = <
			MX8MP_IOMUXC_GPIO1_IO01__PWM1_OUT	0x116
		>;
	};

	pinctrl_pwm2: pwm2grp {
		fsl,pins = <
			MX8MP_IOMUXC_GPIO1_IO13__PWM2_OUT	0x116
		>;
	};

	pinctrl_pwm3: pwm3grp {
		fsl,pins = <
			MX8MP_IOMUXC_GPIO1_IO10__PWM3_OUT	0x116
		>;
	};

	pinctrl_pwm4: pwm4grp {
		fsl,pins = <
			MX8MP_IOMUXC_SAI5_RXFS__PWM4_OUT	0x116
		>;
	};

	pinctrl_reg_usdhc2_vmmc: regusdhc2vmmcgrp {
		fsl,pins = <
			MX8MP_IOMUXC_SD2_RESET_B__GPIO2_IO19	0x40
		>;
	};

	pinctrl_sai2: sai2grp {
		fsl,pins = <
			MX8MP_IOMUXC_SAI2_TXC__AUDIOMIX_SAI2_TX_BCLK	0xd6
			MX8MP_IOMUXC_SAI2_TXFS__AUDIOMIX_SAI2_TX_SYNC	0xd6
			MX8MP_IOMUXC_SAI2_TXD0__AUDIOMIX_SAI2_TX_DATA00	0xd6
			MX8MP_IOMUXC_SAI2_RXD0__AUDIOMIX_SAI2_RX_DATA00	0xd6
		>;
	};

	pinctrl_sai3: sai3grp {
		fsl,pins = <
			MX8MP_IOMUXC_SAI3_TXFS__AUDIOMIX_SAI3_TX_SYNC	0xd6
			MX8MP_IOMUXC_SAI3_TXC__AUDIOMIX_SAI3_TX_BCLK	0xd6
			MX8MP_IOMUXC_SAI3_RXD__AUDIOMIX_SAI3_RX_DATA00	0xd6
			MX8MP_IOMUXC_SAI3_TXD__AUDIOMIX_SAI3_TX_DATA00	0xd6
			MX8MP_IOMUXC_SAI3_MCLK__AUDIOMIX_SAI3_MCLK	0xd6
		>;
	};

	pinctrl_typec: typec1grp {
		fsl,pins = <
			MX8MP_IOMUXC_SAI1_TXD7__GPIO4_IO19	0x1c4
		>;
	};

	pinctrl_uart1: uart1grp {
		fsl,pins = <
			MX8MP_IOMUXC_UART1_RXD__UART1_DCE_RX	0x140
			MX8MP_IOMUXC_UART1_TXD__UART1_DCE_TX	0x140
			MX8MP_IOMUXC_UART3_RXD__UART1_DCE_CTS	0x140
			MX8MP_IOMUXC_UART3_TXD__UART1_DCE_RTS	0x140
		>;
	};

	pinctrl_uart2: uart2grp {
		fsl,pins = <
			MX8MP_IOMUXC_UART2_RXD__UART2_DCE_RX	0x140
			MX8MP_IOMUXC_UART2_TXD__UART2_DCE_TX	0x140
		>;
	};

	pinctrl_uart3: uart3grp {
		fsl,pins = <
			MX8MP_IOMUXC_ECSPI1_SCLK__UART3_DCE_RX		0x140
			MX8MP_IOMUXC_ECSPI1_MOSI__UART3_DCE_TX		0x140
			MX8MP_IOMUXC_ECSPI1_SS0__UART3_DCE_RTS		0x140
			MX8MP_IOMUXC_ECSPI1_MISO__UART3_DCE_CTS		0x140
		>;
	};

	pinctrl_usdhc1: usdhc1grp {
		fsl,pins = <
			MX8MP_IOMUXC_SD1_CLK__USDHC1_CLK	0x190
			MX8MP_IOMUXC_SD1_CMD__USDHC1_CMD	0x1d0
			MX8MP_IOMUXC_SD1_DATA0__USDHC1_DATA0	0x1d0
			MX8MP_IOMUXC_SD1_DATA1__USDHC1_DATA1	0x1d0
			MX8MP_IOMUXC_SD1_DATA2__USDHC1_DATA2	0x1d0
			MX8MP_IOMUXC_SD1_DATA3__USDHC1_DATA3	0x1d0
		>;
	};

	pinctrl_usdhc1_100mhz: usdhc1-100mhzgrp {
		fsl,pins = <
			MX8MP_IOMUXC_SD1_CLK__USDHC1_CLK	0x194
			MX8MP_IOMUXC_SD1_CMD__USDHC1_CMD	0x1d4
			MX8MP_IOMUXC_SD1_DATA0__USDHC1_DATA0	0x1d4
			MX8MP_IOMUXC_SD1_DATA1__USDHC1_DATA1	0x1d4
			MX8MP_IOMUXC_SD1_DATA2__USDHC1_DATA2	0x1d4
			MX8MP_IOMUXC_SD1_DATA3__USDHC1_DATA3	0x1d4
		>;
	};

	pinctrl_usdhc1_200mhz: usdhc1-200mhzgrp {
		fsl,pins = <
			MX8MP_IOMUXC_SD1_CLK__USDHC1_CLK	0x196
			MX8MP_IOMUXC_SD1_CMD__USDHC1_CMD	0x1d6
			MX8MP_IOMUXC_SD1_DATA0__USDHC1_DATA0	0x1d6
			MX8MP_IOMUXC_SD1_DATA1__USDHC1_DATA1	0x1d6
			MX8MP_IOMUXC_SD1_DATA2__USDHC1_DATA2	0x1d6
			MX8MP_IOMUXC_SD1_DATA3__USDHC1_DATA3	0x1d6
		>;
	};

	pinctrl_usdhc2: usdhc2grp {
		fsl,pins = <
			MX8MP_IOMUXC_SD2_CLK__USDHC2_CLK	0x190
			MX8MP_IOMUXC_SD2_CMD__USDHC2_CMD	0x1d0
			MX8MP_IOMUXC_SD2_DATA0__USDHC2_DATA0	0x1d0
			MX8MP_IOMUXC_SD2_DATA1__USDHC2_DATA1	0x1d0
			MX8MP_IOMUXC_SD2_DATA2__USDHC2_DATA2	0x1d0
			MX8MP_IOMUXC_SD2_DATA3__USDHC2_DATA3	0x1d0
			MX8MP_IOMUXC_GPIO1_IO04__USDHC2_VSELECT	0xc0
		>;
	};

	pinctrl_usdhc2_100mhz: usdhc2-100mhzgrp {
		fsl,pins = <
			MX8MP_IOMUXC_SD2_CLK__USDHC2_CLK	0x194
			MX8MP_IOMUXC_SD2_CMD__USDHC2_CMD	0x1d4
			MX8MP_IOMUXC_SD2_DATA0__USDHC2_DATA0	0x1d4
			MX8MP_IOMUXC_SD2_DATA1__USDHC2_DATA1	0x1d4
			MX8MP_IOMUXC_SD2_DATA2__USDHC2_DATA2	0x1d4
			MX8MP_IOMUXC_SD2_DATA3__USDHC2_DATA3	0x1d4
			MX8MP_IOMUXC_GPIO1_IO04__USDHC2_VSELECT 0xc0
		>;
	};

	pinctrl_usdhc2_200mhz: usdhc2-200mhzgrp {
		fsl,pins = <
			MX8MP_IOMUXC_SD2_CLK__USDHC2_CLK	0x196
			MX8MP_IOMUXC_SD2_CMD__USDHC2_CMD	0x1d6
			MX8MP_IOMUXC_SD2_DATA0__USDHC2_DATA0	0x1d6
			MX8MP_IOMUXC_SD2_DATA1__USDHC2_DATA1	0x1d6
			MX8MP_IOMUXC_SD2_DATA2__USDHC2_DATA2	0x1d6
			MX8MP_IOMUXC_SD2_DATA3__USDHC2_DATA3	0x1d6
			MX8MP_IOMUXC_GPIO1_IO04__USDHC2_VSELECT 0xc0
		>;
	};

	pinctrl_usdhc2_gpio: usdhc2gpiogrp {
		fsl,pins = <
			MX8MP_IOMUXC_SD2_CD_B__GPIO2_IO12	0x1c4
		>;
	};

	pinctrl_usdhc3: usdhc3grp {
		fsl,pins = <
			MX8MP_IOMUXC_NAND_WE_B__USDHC3_CLK	0x190
			MX8MP_IOMUXC_NAND_WP_B__USDHC3_CMD	0x1d0
			MX8MP_IOMUXC_NAND_DATA04__USDHC3_DATA0	0x1d0
			MX8MP_IOMUXC_NAND_DATA05__USDHC3_DATA1	0x1d0
			MX8MP_IOMUXC_NAND_DATA06__USDHC3_DATA2	0x1d0
			MX8MP_IOMUXC_NAND_DATA07__USDHC3_DATA3	0x1d0
			MX8MP_IOMUXC_NAND_RE_B__USDHC3_DATA4	0x1d0
			MX8MP_IOMUXC_NAND_CE2_B__USDHC3_DATA5	0x1d0
			MX8MP_IOMUXC_NAND_CE3_B__USDHC3_DATA6	0x1d0
			MX8MP_IOMUXC_NAND_CLE__USDHC3_DATA7	0x1d0
			MX8MP_IOMUXC_NAND_CE1_B__USDHC3_STROBE	0x190
		>;
	};

	pinctrl_usdhc3_100mhz: usdhc3-100mhzgrp {
		fsl,pins = <
			MX8MP_IOMUXC_NAND_WE_B__USDHC3_CLK	0x194
			MX8MP_IOMUXC_NAND_WP_B__USDHC3_CMD	0x1d4
			MX8MP_IOMUXC_NAND_DATA04__USDHC3_DATA0	0x1d4
			MX8MP_IOMUXC_NAND_DATA05__USDHC3_DATA1	0x1d4
			MX8MP_IOMUXC_NAND_DATA06__USDHC3_DATA2	0x1d4
			MX8MP_IOMUXC_NAND_DATA07__USDHC3_DATA3	0x1d4
			MX8MP_IOMUXC_NAND_RE_B__USDHC3_DATA4	0x1d4
			MX8MP_IOMUXC_NAND_CE2_B__USDHC3_DATA5	0x1d4
			MX8MP_IOMUXC_NAND_CE3_B__USDHC3_DATA6	0x1d4
			MX8MP_IOMUXC_NAND_CLE__USDHC3_DATA7	0x1d4
			MX8MP_IOMUXC_NAND_CE1_B__USDHC3_STROBE	0x194
		>;
	};

	pinctrl_usdhc3_200mhz: usdhc3-200mhzgrp {
		fsl,pins = <
			MX8MP_IOMUXC_NAND_WE_B__USDHC3_CLK	0x196
			MX8MP_IOMUXC_NAND_WP_B__USDHC3_CMD	0x1d6
			MX8MP_IOMUXC_NAND_DATA04__USDHC3_DATA0	0x1d6
			MX8MP_IOMUXC_NAND_DATA05__USDHC3_DATA1	0x1d6
			MX8MP_IOMUXC_NAND_DATA06__USDHC3_DATA2	0x1d6
			MX8MP_IOMUXC_NAND_DATA07__USDHC3_DATA3	0x1d6
			MX8MP_IOMUXC_NAND_RE_B__USDHC3_DATA4	0x1d6
			MX8MP_IOMUXC_NAND_CE2_B__USDHC3_DATA5	0x1d6
			MX8MP_IOMUXC_NAND_CE3_B__USDHC3_DATA6	0x1d6
			MX8MP_IOMUXC_NAND_CLE__USDHC3_DATA7	0x1d6
			MX8MP_IOMUXC_NAND_CE1_B__USDHC3_STROBE	0x196
		>;
	};

	pinctrl_wdog: wdoggrp {
		fsl,pins = <
			MX8MP_IOMUXC_GPIO1_IO02__WDOG1_WDOG_B	0x166
		>;
	};
};

&vpu_g1 {
	status = "okay";
};

&vpu_g2 {
	status = "okay";
};

&vpu_vc8000e {
	status = "okay";
};

&vpu_v4l2 {
	status = "okay";
};

&gpu_3d {
	status = "okay";
};

&gpu_2d {
	status = "okay";
};

&ml_vipsi {
	status = "okay";
};

&mix_gpu_ml {
	status = "okay";
};

&mipi_csi_0 {
	status = "okay";

	port {
		mipi_csi0_ep: endpoint {
			remote-endpoint = <&isp_out_0>;
			data-lanes = <4>;
			csis-hs-settle = <13>;
			csis-clk-settle = <2>;
			csis-wclk;
		};
	};
};

&cameradev {
	status = "okay";
};

&isi_0 {
	status = "okay";

	cap_device {
		status = "okay";
	};

	m2m_device {
		status = "okay";
	};
};
